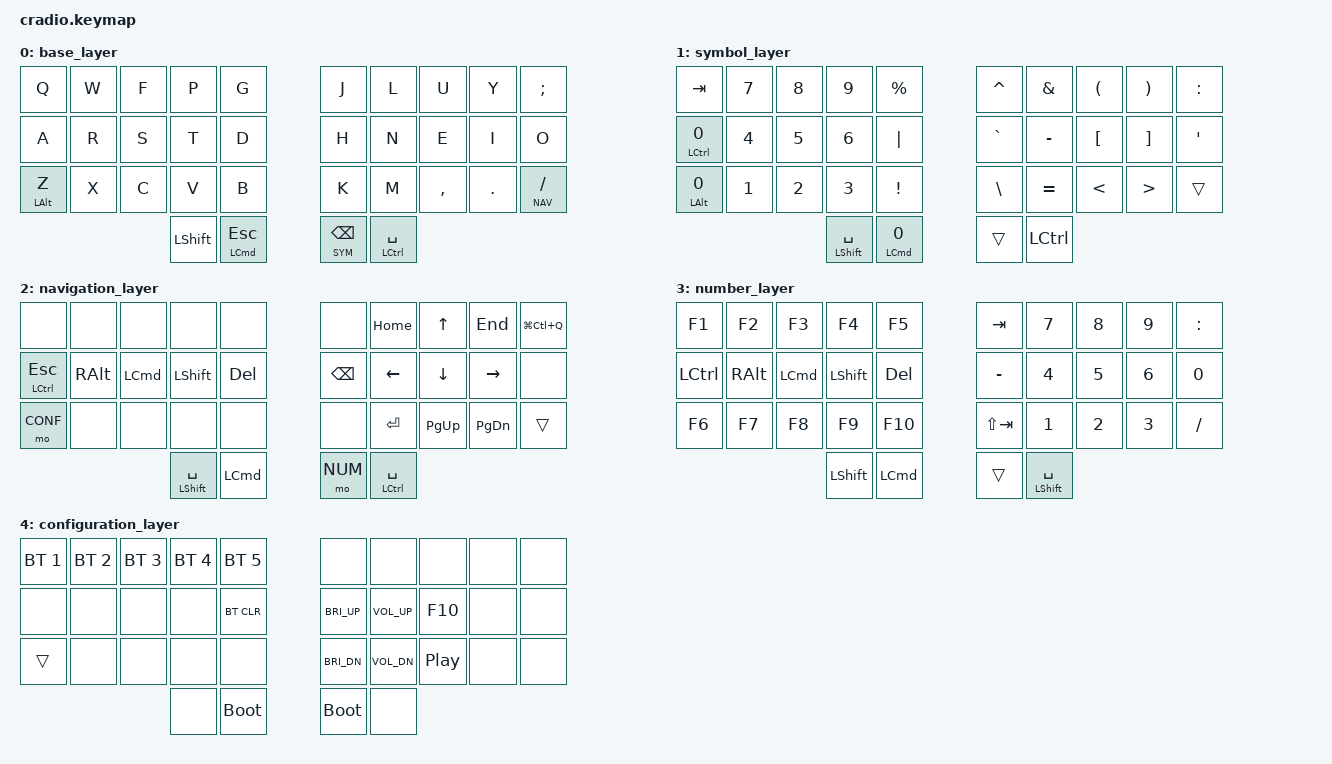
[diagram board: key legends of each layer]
/*
 * Copyright (c) 2020 The ZMK Contributors
 *
 * SPDX-License-Identifier: MIT
 */

#include <behaviors.dtsi>
#include <dt-bindings/zmk/keys.h>
#include <dt-bindings/zmk/bt.h>

// Layers
#define BASE 0
#define SYM 1
#define NAV 2
#define NUM 3
#define CONF 4

// Custom
#define MAC_LOCK LG(LC(Q))
#define MAC_MUTE F10

&mt {
    flavor = "tap-preferred";
    tapping_term_ms = <200>;
    quick-tap-ms = <150>;
};

/ {

    combos {
        compatible = "zmk,combos";
        // shifted number row
        combo_exclam {
            timeout-ms = <50>;
            key-positions = <0 10>;
            layers = <BASE SYM NUM>;
            bindings = <&kp EXCL>;
        };
        combo_at {
            timeout-ms = <50>;
            key-positions = <1 11>;
            layers = <BASE SYM NUM>;
            bindings = <&kp AT>;
        };
        combo_hash {
            timeout-ms = <50>;
            key-positions = <2 12>;
            layers = <BASE SYM NUM>;
            bindings = <&kp HASH>;
        };
        combo_dollar {
            timeout-ms = <50>;
            key-positions = <3 13>;
            layers = <BASE SYM NUM>;
            bindings = <&kp DLLR>;
        };
        combo_perc {
            timeout-ms = <50>;
            key-positions = <4 14>;
            layers = <BASE SYM NUM>;
            bindings = <&kp PRCNT>;
        };
        combo_caret {
            timeout-ms = <50>;
            key-positions = <5 15>;
            layers = <BASE SYM NUM>;
            bindings = <&kp CARET>;
        };
        combo_amps {
            timeout-ms = <50>;
            key-positions = <6 16>;
            layers = <BASE SYM NUM>;
            bindings = <&kp AMPS>;
        };
        combo_astrk {
            timeout-ms = <50>;
            key-positions = <7 17>;
            layers = <BASE SYM NUM>;
            bindings = <&kp ASTRK>;
        };
        combo_lparen {
            timeout-ms = <50>;
            key-positions = <8 18>;
            layers = <BASE SYM NUM>;
            bindings = <&kp LPAR>;
        };
        combo_rparen {
            timeout-ms = <50>;
            key-positions = <9 19>;
            layers = <BASE SYM NUM>;
            bindings = <&kp RPAR>;
        };
        // additional symbols
        combo_l_grave {
            timeout-ms = <50>;
            key-positions = <0 1>;
            layers = <BASE SYM NUM>;
            bindings = <&kp GRAVE>;
        };
        combo_l_0 {
            timeout-ms = <50>;
            key-positions = <10 20>;
            layers = <BASE>;
            bindings = <&kp N0>;
        };
        combo_l_1 {
            timeout-ms = <50>;
            key-positions = <11 21>;
            layers = <BASE>;
            bindings = <&kp N1>;
        };
        combo_l_2 {
            timeout-ms = <50>;
            key-positions = <12 22>;
            layers = <BASE>;
            bindings = <&kp N2>;
        };
        combo_l_3 {
            timeout-ms = <50>;
            key-positions = <13 23>;
            layers = <BASE>;
            bindings = <&kp N3>;
        };
        combo_l_9 {
            timeout-ms = <50>;
            key-positions = <14 24>;
            layers = <BASE>;
            bindings = <&kp N9>;
        };
        combo_r_colon {
            timeout-ms = <50>;
            key-positions = <8 9>;
            layers = <BASE SYM NUM>;
            bindings = <&kp COLON>;
        };
        combo_r_plus_h {
            timeout-ms = <15>;
            key-positions = <15 16>;
            layers = <BASE SYM NUM>;
            bindings = <&kp PLUS>;
        };
        combo_r_minus_h {
            timeout-ms = <15>;
            key-positions = <16 17>;
            layers = <BASE SYM NUM>;
            bindings = <&kp MINUS>;
        };
        combo_r_equal_h {
            timeout-ms = <15>;
            key-positions = <17 18>;
            layers = <BASE SYM NUM>;
            bindings = <&kp EQUAL>;
        };
        combo_r_double_quote {
            timeout-ms = <15>;
            key-positions = <18 19>;
            layers = <BASE SYM NUM>;
            bindings = <&kp DQT>;
        };
        combo_r_tilde {
            timeout-ms = <20>;
            key-positions = <27 28>;
            layers = <BASE SYM NUM>;
            bindings = <&kp TILDE>;
        };
        combo_r_qmark {
            timeout-ms = <20>;
            key-positions = <28 29>;
            layers = <BASE SYM NUM>;
            bindings = <&kp QMARK>;
        };
        combo_r_bslh {
            timeout-ms = <20>;
            key-positions = <15 25>;
            layers = <BASE SYM NUM>;
            bindings = <&kp BSLH>;
        };
        combo_r_pipe {
            timeout-ms = <50>;
            key-positions = <16 26>;
            layers = <BASE SYM NUM>;
            bindings = <&kp PIPE>;
        };
        // misc modifiers and whitespace
        combo_l_del {
            timeout-ms = <50>;
            key-positions = <3 4>;
            layers = <BASE SYM NUM>;
            bindings = <&kp DEL>;
        };
        combo_r_del {
            timeout-ms = <50>;
            key-positions = <5 6>;
            layers = <BASE SYM NUM>;
            bindings = <&kp DEL>;
        };
        combo_l_bksp {
            timeout-ms = <50>;
            key-positions = <13 14>;
            layers = <BASE SYM NUM>;
            bindings = <&kp BSPC>;
        };
        combo_l_cmd_tab {
            timeout-ms = <25>;
            key-positions = <20 21>;
            layers = <BASE>;
            bindings = <&kp LG(TAB)>;
        };
        combo_l_shift_tab {
            timeout-ms = <50>;
            key-positions = <21 22>;
            layers = <BASE SYM NUM>;
            bindings = <&kp LS(TAB)>;
        };
        combo_l_tab {
            timeout-ms = <50>;
            key-positions = <22 23>;
            layers = <BASE SYM NUM>;
            bindings = <&kp TAB>;
        };
        combo_l_ent {
            timeout-ms = <50>;
            key-positions = <23 24>;
            layers = <BASE SYM NUM>;
            bindings = <&kp RET>;
        };
        combo_r_ent {
            timeout-ms = <75>;
            key-positions = <26 27>;
            layers = <BASE SYM NUM>;
            bindings = <&kp RET>;
        };
    };

    behaviors {
        mth: mod_tap_hold_preferred {
            compatible = "zmk,behavior-hold-tap";
            label = "MOD_TAP_HOLD_PREF";
            #binding-cells = <2>;
            flavor = "hold-preferred";
            tapping-term-ms = <400>;
            quick-tap-ms = <200>;
            bindings = <&kp>, <&kp>;
        };
        mtb: mod_tap_balanced {
            compatible = "zmk,behavior-hold-tap";
            label = "MOD_TAP_BALANCED";
            #binding-cells = <2>;
            flavor = "balanced";
            tapping-term-ms = <400>;
            quick-tap-ms = <0>;
            bindings = <&kp>, <&kp>;
        };
        lth: layer_tap_hold_preferred {
            compatible = "zmk,behavior-hold-tap";
            label = "LAYER_TAP_HOLD_PREF";
            #binding-cells = <2>;
            flavor = "hold-preferred";
            tapping-term-ms = <300>;
            quick-tap-ms = <200>;
            bindings = <&mo>, <&kp>;
        };
    };

    keymap {
        compatible = "zmk,keymap";

        base_layer {
            bindings = <
&kp Q        &kp W  &kp F  &kp P  &kp G    &kp J  &kp L  &kp U      &kp Y    &kp SEMI
&kp A        &kp R  &kp S  &kp T  &kp D    &kp H  &kp N  &kp E      &kp I    &kp O
&mtb LALT Z  &kp X  &kp C  &kp V  &kp B    &kp K  &kp M  &kp COMMA  &kp DOT  &lt NAV SLASH

&kp LSHFT  &mth LCMD ESC                   &lth SYM BSPC  &mt LCTRL SPACE
            >;
        };

        symbol_layer {
            bindings = <
&kp TAB       &kp N7  &kp N8  &kp N9  &kp PRCNT    &kp CARET  &kp AMPS   &kp LPAR  &kp RPAR  &kp COLON
&mt LCTRL N0  &kp N4  &kp N5  &kp N6  &kp PIPE     &kp GRAVE  &kp MINUS  &kp LBKT  &kp RBKT  &kp SQT
&mt LALT N0   &kp N1  &kp N2  &kp N3  &kp EXCL     &kp BSLH   &kp EQUAL  &kp LT    &kp GT    &trans

&mt LSHFT SPACE  &mt LCMD N0                       &trans  &kp LCTRL
            >;
        };

        navigation_layer {
            bindings = <
&none          &none     &none     &none      &none      &none     &kp HOME  &kp UP     &kp END    &kp MAC_LOCK
&mt LCTRL ESC  &kp RALT  &kp LCMD  &kp LSHFT  &kp DEL    &kp BSPC  &kp LEFT  &kp DOWN   &kp RIGHT  &none
&mo CONF       &none     &none     &none      &none      &none     &kp RET   &kp PG_UP  &kp PG_DN  &trans

&mt LSHFT SPACE  &kp LCMD                                &mo NUM  &mt LCTRL SPACE
            >;
        };

        number_layer {
            bindings = <
&kp F1     &kp F2    &kp F3    &kp F4     &kp F5     &kp TAB      &kp N7  &kp N8  &kp N9  &kp COLON
&kp LCTRL  &kp RALT  &kp LCMD  &kp LSHFT  &kp DEL    &kp MINUS    &kp N4  &kp N5  &kp N6  &kp N0
&kp F6     &kp F7    &kp F8    &kp F9     &kp F10    &kp LS(TAB)  &kp N1  &kp N2  &kp N3  &kp SLASH

&kp LSHFT &kp LCMD                                   &trans  &mt LSHFT SPACE
            >;
        };

        configuration_layer {
            bindings = <
&bt BT_SEL 1   &bt BT_SEL 2  &bt BT_SEL 3  &bt BT_SEL 4  &bt BT_SEL 5    &none         &none         &none         &none  &none
&none          &none         &none         &none         &bt BT_CLR      &kp C_BRI_UP  &kp C_VOL_UP  &kp MAC_MUTE  &none  &none
&trans         &none         &none         &none         &none           &kp C_BRI_DN  &kp C_VOL_DN  &kp C_PP      &none  &none

&none  &bootloader                                                       &bootloader  &none
            >;
        };
    };
};
